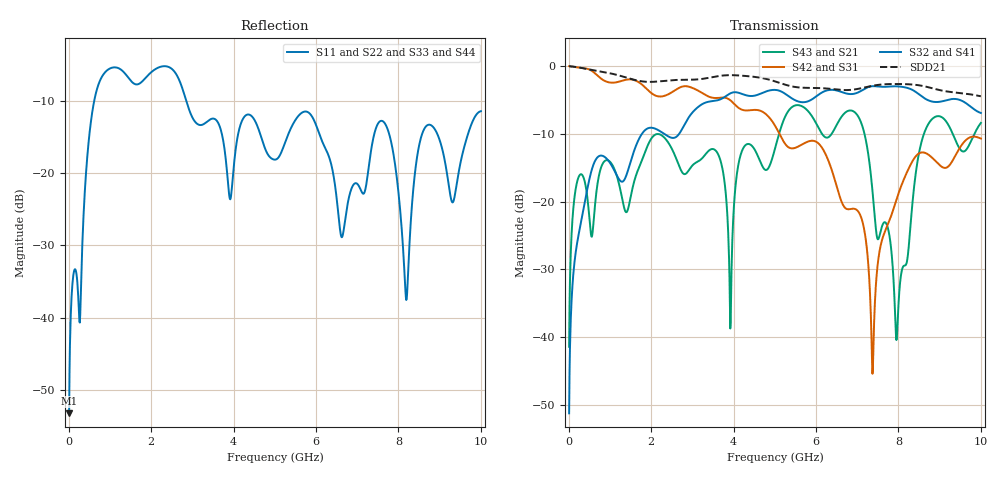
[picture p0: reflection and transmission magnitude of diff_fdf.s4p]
# HZ S RI R 50
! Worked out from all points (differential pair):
!   1000 points, 10 MHz to 10 GHz, reference 50 ohm
!   strongest paths, dB at 10 MHz, 2.51 GHz, 5.01 GHz, 7.51 GHz, 10 GHz:
!     S32: -51.3, -10.6, -3.5, -3.0, -6.9
!     S41: -51.3, -10.6, -3.5, -3.0, -6.9
!     S42: 0.0, -3.8, -8.8, -28.6, -10.7
!     S31: 0.0, -3.8, -8.8, -28.6, -10.7
!     S43: -41.5, -12.3, -12.1, -25.6, -8.4
!     S21: -41.5, -12.3, -12.1, -25.6, -8.4
!   taken as a pair (ports 2,1 in; 4,3 out), SDD21 dB: 0.0, -2.1, -2.3, -2.8, -4.5
!   lowest |S11| = -53.2 dB at 10 MHz (marker M1), VSWR 1.00, Z = 50 + j0.217 ohm
!   |S11| at or under -10 dB: start of sweep to 620 MHz; 2.85 GHz to end of sweep
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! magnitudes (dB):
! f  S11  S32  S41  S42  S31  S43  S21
! 10 MHz  -53.2  -51.3  -51.3  0.0  0.0  -41.5  -41.5
! 970 MHz  -5.7  -14.0  -14.0  -2.4  -2.4  -14.0  -14.0
! 3.92 GHz  -23.7  -4.0  -4.0  -5.0  -5.0  -38.7  -38.7
! 6.07 GHz  -14.4  -4.2  -4.2  -11.5  -11.5  -9.2  -9.2
! 7.37 GHz  -15.8  -3.0  -3.0  -45.4  -45.4  -18.4  -18.4
! 7.96 GHz  -20.7  -3.0  -3.0  -19.6  -19.6  -40.2  -40.2
! 10 GHz  -11.5  -6.9  -6.9  -10.7  -10.7  -8.4  -8.4
